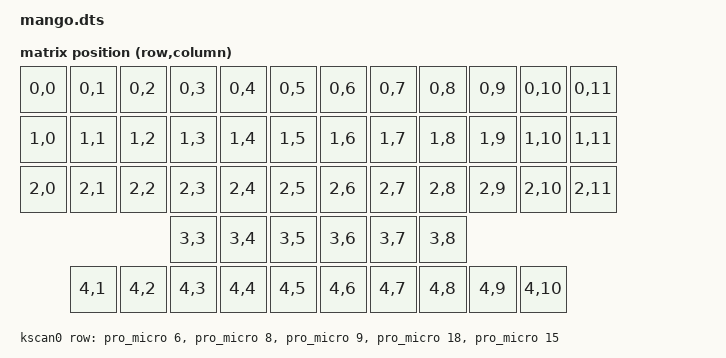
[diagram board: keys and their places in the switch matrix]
/dts-v1/;

#include <nordic/nrf52840_qiaa.dtsi>
#include <dt-bindings/zmk/matrix_transform.h>
#include <dt-bindings/led/led.h>
#include "mango-pinctrl.dtsi"

/ {
	chosen {
		zmk,kscan = &kscan0;
		zmk,matrix_transform = &default_transform;
		zephyr,code-partition = &code_partition;
		zephyr,sram = &sram0;
		zephyr,flash = &flash0;
		zephyr,display = &lcd;
		zmk,battery = &vbatt;
		zephyr,console = &cdc_acm_uart;
		zmk,underglow = &led_strip;
	};

	// P0.13 switches the nice!nano VCC output, which feeds both the LEDs and the
	// display. On the right clone low turns VCC on (on a genuine v2 it is high);
	// mango_left.dts overrides the polarity for the left one.
	// Deep sleep turns it off, otherwise the LEDs draw ~20 mA while asleep.
	// The node name is what &ext_power looks up, so it must stay EXT_POWER.
	vcc_switch: EXT_POWER {
		compatible = "zmk,ext-power-generic";
		control-gpios = <&gpio0 13 GPIO_ACTIVE_LOW>;
		init-delay-ms = <50>;
	};

	vbatt: vbatt {
		compatible = "zmk,battery-nrf-vddh";
		// label = "BATTERY";
	};

	leds {
		compatible = "gpio-leds";
		blue_led: led_0 {
			gpios = <&gpio0 15 GPIO_ACTIVE_HIGH>;
			// label = "Blue LED";
		};
	};

/*                                  
*                        _____                                               _____
*                 .-----|     |-----._____                       _____.-----|     |-----.
*      _____.-----|     |_____|     |     |                     |     |     |_____|     |-----._____
*     |     |     |-----|     |-----|_____|                     |_____|-----|     |-----|     |     |  
*     |_____|-----|     |_____|     |     |                     |     |     |_____|     |-----|_____|  
*     |     |     |-----|     |-----|_____|                     |_____|-----|     |-----|     |     |  
*     |_____|-----|     |_____|     |     |                     |     |     |_____|     |-----|_____|  
*     |     |     |-----'   .-'---.=|_____|.-.._           _..-.|_____|=.---'-.   '-----|     |     |
*     !_____!-----'         |     |     | /     /         \     \ |     |     |         '-----!_____!
*                           '-----!_____!/     /           \     \!_____!-----'          
*                                       '--.._/             \_..--'                                                                                                                                                                  
*/

	default_transform: keymap_transform_0 {
		compatible = "zmk,matrix-transform";
		columns = <12>;
		rows = <5>;

//      | SW1  | SW2  | SW3  | SW4  | SW5  | SW6  |   | SW6  | SW5  | SW4  | SW3  | SW2  | SW1  |
//      | SW7  | SW8  | SW9  | SW10 | SW11 | SW11 |   | SW12 | SW11 | SW10 | SW9  | SW8  | SW7  |
//      | SW13 | SW14 | SW15 | SW16 | SW17 | SW18 |   | SW18 | SW17 | SW16 | SW15 | SW14 | SW13 |
//                           | SW19 | SW20 | SW21 |   | SW21 | SW20 | SW19 |
//
//             | SW22 | SW23 | SW24 | SW25 | SW26 |   | SW26 | SW25 | SW24 | SW23 | SW22 |

	    map = <
            RC(0,0) RC(0,1) RC(0,2) RC(0,3) RC(0,4) RC(0,5)  RC(0,6) RC(0,7) RC(0,8) RC(0,9) RC(0,10) RC(0,11)
            RC(1,0) RC(1,1) RC(1,2) RC(1,3) RC(1,4) RC(1,5)  RC(1,6) RC(1,7) RC(1,8) RC(1,9) RC(1,10) RC(1,11)
            RC(2,0) RC(2,1) RC(2,2) RC(2,3) RC(2,4) RC(2,5)  RC(2,6) RC(2,7) RC(2,8) RC(2,9) RC(2,10) RC(2,11)
                                    RC(3,3) RC(3,4) RC(3,5)  RC(3,6) RC(3,7) RC(3,8)

                    RC(4,1) RC(4,2) RC(4,3) RC(4,4) RC(4,5)  RC(4,6) RC(4,7) RC(4,8) RC(4,9) RC(4,10)
		>;
	};

	kscan0: kscan {
		compatible = "zmk,kscan-gpio-matrix";
		// label = "KSCAN";
		// Lets a keypress wake the board from deep sleep (CONFIG_ZMK_SLEEP)
		wakeup-source;

		diode-direction = "col2row";
		row-gpios
			= <&pro_micro 6 (GPIO_ACTIVE_HIGH | GPIO_PULL_DOWN)> // row0 from the schematic file
			, <&pro_micro 8 (GPIO_ACTIVE_HIGH | GPIO_PULL_DOWN)> // row1 from the schematic file
			, <&pro_micro 9 (GPIO_ACTIVE_HIGH | GPIO_PULL_DOWN)> // row2 from the schematic file
			, <&pro_micro 18 (GPIO_ACTIVE_HIGH | GPIO_PULL_DOWN)> // row3 from the schematic file
            , <&pro_micro 15 (GPIO_ACTIVE_HIGH | GPIO_PULL_DOWN)> // row4 from the schematic file
			;
		
	};

	pro_micro: connector {
		compatible = "arduino-pro-micro";
		#gpio-cells = <2>;
		gpio-map-mask = <0xffffffff 0xffffffc0>;
		gpio-map-pass-thru = <0 0x3f>;
		gpio-map
			= <0 0 &gpio0 8 0>		/* D0 */
			, <1 0 &gpio0 6 0>		/* D1 */
			, <2 0 &gpio0 17 0>		/* D2 */
			, <3 0 &gpio0 20 0>		/* D3 */
			, <4 0 &gpio0 22 0>		/* D4/A6 */
			, <5 0 &gpio0 24 0>		/* D5 */
			, <6 0 &gpio1 0 0>		/* D6/A7 */
			, <7 0 &gpio0 11 0>		/* D7 */
			, <8 0 &gpio1 4 0>		/* D8/A8 */
			, <9 0 &gpio1 6 0>		/* D9/A9 */
			, <10 0 &gpio0 9 0>		/* D10/A10 */
			, <16 0 &gpio0 10 0>	/* D16 */
			, <14 0 &gpio1 11 0>	/* D14 */
			, <15 0 &gpio1 13 0>	/* D15 */
			, <18 0 &gpio1 15 0>	/* D18/A0 */
			, <19 0 &gpio0 2 0>	/* D19/A1 */
			, <20 0 &gpio0 29 0>	/* D20/A2 */
			, <21 0 &gpio0 31 0>	/* D21/A3 */
			;
	};

	pro_micro_a: connector_a {
		compatible = "arduino-pro-micro";
		#gpio-cells = <2>;
		gpio-map-mask = <0xffffffff 0xffffffc0>;
		gpio-map-pass-thru = <0 0x3f>;
		gpio-map
			= <0 0 &gpio1 15 0>	/* D18/A0 */
			, <1 0 &gpio0 2 0>	/* D19/A1 */
			, <2 0 &gpio0 29 0>	/* D20/A2 */
			, <3 0 &gpio0 31 0>	/* D21/A3 */
			, <6 0 &gpio0 22 0>	/* D4/A6 */
			, <7 0 &gpio1 0 0>	/* D6/A7 */
			, <8 0 &gpio1 4 0>	/* D8/A8 */
			, <9 0 &gpio1 6 0>	/* D9/A9 */
			, <10 0 &gpio0 9 0>	/* D10/A10 */
			;
	};
};

&adc {
	status = "okay";
};

&gpiote {
	status = "okay";
};

&gpio0 {
	status = "okay";

	// P0.08 used to be the ext-power pin and was always driven high. Its job on
	// the PCB is unknown (maybe the Q1/Q2 MOSFET), so keep it high.
	p0_08_high {
		gpio-hog;
		gpios = <8 GPIO_ACTIVE_HIGH>;
		output-high;
	};
};

&gpio1 {
	status = "okay";
};

&i2c0 {
	compatible = "nordic,nrf-twi";
    pinctrl-0 = <&i2c0_default>;
    pinctrl-1 = <&i2c0_sleep>;
    pinctrl-names = "default", "sleep";
};

&uart0 {
	compatible = "nordic,nrf-uarte";
	pinctrl-0 = <&uart0_default>;
    pinctrl-1 = <&uart0_sleep>;
    pinctrl-names = "default", "sleep";
};

&usbd {
	status = "okay";
	compatible = "nordic,nrf-usbd";
	cdc_acm_uart: cdc_acm_uart {
		compatible = "zephyr,cdc-acm-uart";
		// label = "CDC_ACM_0";
	};
};

&spi0 {
    status = "okay";
    compatible = "nordic,nrf-spim";
    pinctrl-0 = <&spi0_default>;
    pinctrl-1 = <&spi0_sleep>;
    pinctrl-names = "default", "sleep";
    cs-gpios = <&pro_micro 4 GPIO_ACTIVE_HIGH>;

	lcd: ls0xx@0 {
		compatible = "sharp,ls0xx";
		// label = "DISPLAY";
		spi-max-frequency = <2000000>;
		reg = <0>;
		width = <160>;
		height = <68>;
		extcomin-gpios = <&pro_micro 2 GPIO_ACTIVE_HIGH>;
		extcomin-frequency = <60>;
		disp-en-gpios = <&pro_micro 3 GPIO_ACTIVE_HIGH>; 
	};
};

&flash0 {
	partitions {
		compatible = "fixed-partitions";
		#address-cells = <1>;
		#size-cells = <1>;

		sd_partition: partition@0 {
			label = "softdevice";
			reg = <0x00000000 0x00026000>;
		};
		code_partition: partition@26000 {
			label = "code_partition";
			reg = <0x00026000 0x000c6000>;
		};

		storage_partition: partition@ec000 {
			label = "storage";
			reg = <0x000ec000 0x00008000>;
		};

		boot_partition: partition@f4000 {
			label = "adafruit_boot";
			reg = <0x000f4000 0x0000c000>;
		};
	};
};

&spi1 {
	compatible = "nordic,nrf-spim";
	/* Cannot be used together with i2c0. */
	status = "okay";
	pinctrl-0 = <&spi1_default>;
    pinctrl-1 = <&spi1_sleep>;
    pinctrl-names = "default", "sleep";

	led_strip: ws2812@0 {
		compatible = "worldsemi,ws2812-spi";
		// label = "SK6812mini";

		/* SPI */
		reg = <0>; /* ignored, but necessary for SPI bindings */
		spi-max-frequency = <4000000>;

		/* WS2812 */
		chain-length = <27>; /* There are per-key RGB, but the first 6 are underglow */
		spi-one-frame = <0x70>;
		spi-zero-frame = <0x40>;

		color-mapping = <LED_COLOR_ID_GREEN LED_COLOR_ID_RED LED_COLOR_ID_BLUE>;
	};
};

pro_micro_d: &pro_micro {};
pro_micro_i2c: &i2c0 {};
pro_micro_spi: &spi0 {};
pro_micro_serial: &uart0 {};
